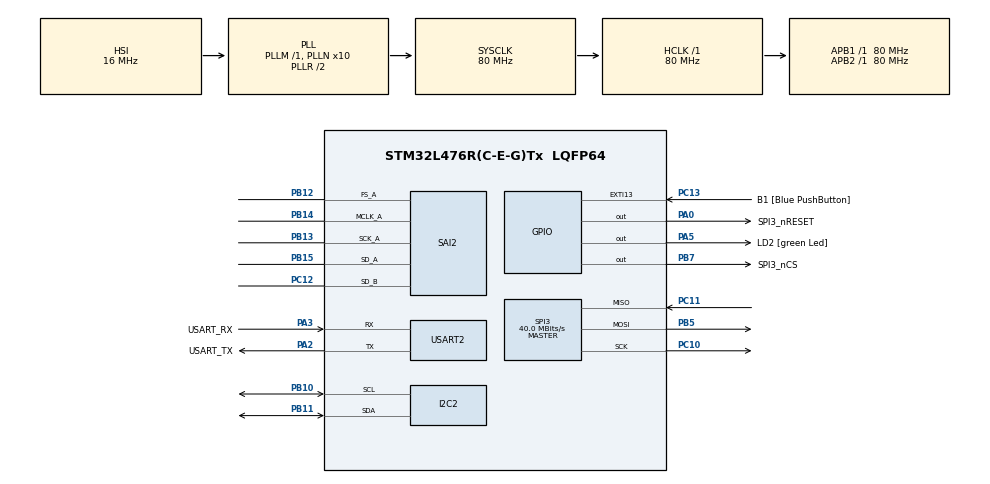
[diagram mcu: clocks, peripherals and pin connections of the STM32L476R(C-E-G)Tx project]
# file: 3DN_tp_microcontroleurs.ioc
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Dma.Request0=SAI2_A
Dma.Request1=SAI2_B
Dma.SAI2_A.0.Direction=DMA_MEMORY_TO_PERIPH
Dma.SAI2_A.0.Instance=DMA1_Channel6
Dma.SAI2_A.0.MemDataAlignment=DMA_MDATAALIGN_WORD
Dma.SAI2_A.0.MemInc=DMA_MINC_ENABLE
Dma.SAI2_A.0.Mode=DMA_CIRCULAR
Dma.SAI2_A.0.PeriphDataAlignment=DMA_PDATAALIGN_WORD
Dma.SAI2_A.0.PeriphInc=DMA_PINC_DISABLE
Dma.SAI2_A.0.Priority=DMA_PRIORITY_LOW
Dma.SAI2_B.1.Direction=DMA_PERIPH_TO_MEMORY
Dma.SAI2_B.1.Instance=DMA1_Channel7
Dma.SAI2_B.1.MemDataAlignment=DMA_MDATAALIGN_WORD
Dma.SAI2_B.1.MemInc=DMA_MINC_ENABLE
Dma.SAI2_B.1.Mode=DMA_CIRCULAR
Dma.SAI2_B.1.PeriphDataAlignment=DMA_PDATAALIGN_WORD
Dma.SAI2_B.1.PeriphInc=DMA_PINC_DISABLE
Dma.SAI2_B.1.Priority=DMA_PRIORITY_LOW
I2C2.Timing=0x10D19CE4
Mcu.Family=STM32L4
Mcu.Name=STM32L476R(C-E-G)Tx
Mcu.Package=LQFP64
NVIC.DMA1_Channel6_IRQn=true\:0\:0\:false\:false\:true\:false\:true\:true
NVIC.DMA1_Channel7_IRQn=true\:0\:0\:false\:false\:true\:false\:true\:true
NVIC.PriorityGroup=NVIC_PRIORITYGROUP_4
NVIC.SAI2_IRQn=true\:0\:0\:false\:false\:true\:true\:true\:true
PA0.GPIO_Label=SPI3_nRESET
PA0.PinState=GPIO_PIN_SET
PA0.Signal=GPIO_Output
PA13\ (JTMS-SWDIO).GPIO_Label=TMS
PA13\ (JTMS-SWDIO).Mode=Serial_Wire
PA13\ (JTMS-SWDIO).Signal=SYS_JTMS-SWDIO
PA14\ (JTCK-SWCLK).GPIO_Label=TCK
PA14\ (JTCK-SWCLK).Mode=Serial_Wire
PA14\ (JTCK-SWCLK).Signal=SYS_JTCK-SWCLK
PA2.GPIO_Label=USART_TX
PA2.GPIO_Mode=GPIO_MODE_AF_PP
PA2.GPIO_PuPd=GPIO_NOPULL
PA2.GPIO_Speed=GPIO_SPEED_FREQ_VERY_HIGH
PA2.Mode=Asynchronous
PA2.Signal=USART2_TX
PA3.GPIO_Label=USART_RX
PA3.GPIO_Mode=GPIO_MODE_AF_PP
PA3.GPIO_PuPd=GPIO_NOPULL
PA3.GPIO_Speed=GPIO_SPEED_FREQ_VERY_HIGH
PA3.Mode=Asynchronous
PA3.Signal=USART2_RX
PA5.GPIO_Label=LD2 [green Led]
PA5.GPIO_ModeDefaultOutputPP=GPIO_MODE_OUTPUT_PP
PA5.GPIO_PuPd=GPIO_NOPULL
PA5.GPIO_Speed=GPIO_SPEED_FREQ_LOW
PA5.Signal=GPIO_Output
PB10.Mode=I2C
PB10.Signal=I2C2_SCL
PB11.Mode=I2C
PB11.Signal=I2C2_SDA
PB12.Mode=SAI_A_MasterWithClock
PB12.Signal=SAI2_FS_A
PB13.Mode=SAI_A_MasterWithClock
PB13.Signal=SAI2_SCK_A
PB14.Mode=SAI_A_MasterWithClock
PB14.Signal=SAI2_MCLK_A
PB15.Mode=SAI_A_MasterWithClock
PB15.Signal=SAI2_SD_A
PB3\ (JTDO-TRACESWO).GPIO_Label=SWO
PB3\ (JTDO-TRACESWO).Signal=SYS_JTDO-SWO
PB5.Mode=Full_Duplex_Master
PB5.Signal=SPI3_MOSI
PB7.GPIO_Label=SPI3_nCS
PB7.Signal=GPIO_Output
PC10.Mode=Full_Duplex_Master
PC10.Signal=SPI3_SCK
PC11.Mode=Full_Duplex_Master
PC11.Signal=SPI3_MISO
PC12.Mode=SAI_B_SyncSlave
PC12.Signal=SAI2_SD_B
PC13.GPIO_Label=B1 [Blue PushButton]
PC13.GPIO_ModeDefaultEXTI=GPIO_MODE_IT_FALLING
PC13.GPIO_PuPd=GPIO_NOPULL
PC13.Signal=GPXTI13
PC14-OSC32_IN\ (PC14).Mode=LSE-External-Oscillator
PC14-OSC32_IN\ (PC14).Signal=RCC_OSC32_IN
PC15-OSC32_OUT\ (PC15).Mode=LSE-External-Oscillator
PC15-OSC32_OUT\ (PC15).Signal=RCC_OSC32_OUT
PH0-OSC_IN\ (PH0).Signal=RCC_OSC_IN
PH1-OSC_OUT\ (PH1).Signal=RCC_OSC_OUT
ProjectManager.HeapSize=0x200
ProjectManager.StackSize=0x400
ProjectManager.TargetToolchain=STM32CubeIDE
RCC.ADCFreq_Value=104000000
RCC.AHBFreq_Value=80000000
RCC.APB1Freq_Value=80000000
RCC.APB1TimFreq_Value=80000000
RCC.APB2Freq_Value=80000000
RCC.APB2TimFreq_Value=80000000
RCC.CortexFreq_Value=80000000
RCC.HCLKFreq_Value=80000000
RCC.HSE_VALUE=8000000
RCC.HSI_VALUE=16000000
RCC.MSI_VALUE=4000000
RCC.PLLN=10
RCC.PLLSAI1N=13
RCC.PLLSAI1P=RCC_PLLP_DIV17
RCC.PLLSourceVirtual=RCC_PLLSOURCE_HSI
RCC.PREFETCH_ENABLE=1
RCC.SYSCLKFreq_VALUE=80000000
RCC.SYSCLKSource=RCC_SYSCLKSOURCE_PLLCLK
RCC.USBFreq_Value=104000000
RCC.VCOOutputFreq_Value=160000000
SAI2.AudioFrequency-SAI_A_MasterWithClock=SAI_AUDIO_FREQUENCY_48K
SAI2.ErrorAudioFreq-SAI_A_MasterWithClock=-0.42 %
SAI2.InitProtocol-SAI_A_MasterWithClock=Enable
SAI2.InitProtocol-SAI_B_SyncSlave=Enable
SAI2.Instance-SAI_A_MasterWithClock=SAI$Index_Block_A
SAI2.Instance-SAI_B_SyncSlave=SAI$Index_Block_B
SAI2.MClockEnable-SAI_A_MasterWithClock=SAI_MASTERCLOCK_ENABLE
SAI2.RealAudioFreq-SAI_A_MasterWithClock=47.794 KHz
SAI2.VirtualMode-SAI_A_MasterWithClock=VM_MASTER
SAI2.VirtualMode-SAI_B_SyncSlave=VM_SLAVE
SAI2.VirtualProtocol-SAI_A_BASIC=VM_BASIC_PROTOCOL
SAI2.VirtualProtocol-SAI_B_BASIC=VM_BASIC_PROTOCOL
SPI3.CalculateBaudRate=40.0 MBits/s
SPI3.DataSize=SPI_DATASIZE_8BIT
SPI3.Direction=SPI_DIRECTION_2LINES
SPI3.Mode=SPI_MODE_MASTER
SPI3.VirtualType=VM_MASTER
USART2.VirtualMode-Asynchronous=VM_ASYNC
VP_SAI2_VP_$IpInstance_SAIA_SAI_BASIC.Mode=SAI_A_BASIC
VP_SAI2_VP_$IpInstance_SAIB_SAI_BASIC.Mode=SAI_B_BASIC
board=NUCLEO-L476RG

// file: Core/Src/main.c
/* USER CODE BEGIN Header */
/**
 ******************************************************************************
 * @file           : main.c
 * @brief          : Main program body
 ******************************************************************************
 * @attention
 *
 * Copyright (c) 2025 STMicroelectronics.
 * All rights reserved.
 *
 * This software is licensed under terms that can be found in the LICENSE file
 * in the root directory of this software component.
 * If no LICENSE file comes with this software, it is provided AS-IS.
 *
 ******************************************************************************
 */
/* USER CODE END Header */
#include "main.h"
#include "dma.h"
#include "i2c.h"
#include "sai.h"
#include "spi.h"
#include "usart.h"

#include "gpio.h"

/* USER CODE BEGIN Includes */
#include "stdio.h"
#include "mcp23s17.h"
#include "sgtl5000.h"
/* USER CODE END Includes */

/* USER CODE BEGIN PTD */
MCP23S17_HandleTypeDef mcp23s17;
/* USER CODE END PTD */

/* USER CODE BEGIN PD */
#define CODEC_I2C_ADDRESS  0x0A // Adresse I2C du CODEC
#define CHIP_ID_REG        0x0000 // Adresse du registre CHIP_ID
#define AUDIO_BUFFER_SIZE  256  // Taille du buffer audio
/* USER CODE END PD */

/* USER CODE BEGIN PV */
uint16_t rxBuffer[AUDIO_BUFFER_SIZE];
uint16_t txBuffer[AUDIO_BUFFER_SIZE];
/* USER CODE END PV */

void SystemClock_Config(void);
void PeriphCommonClock_Config(void);

/* USER CODE BEGIN 0 */
int __io_putchar(int chr)
{
	HAL_UART_Transmit(&huart2, (uint8_t *)&chr, 1, HAL_MAX_DELAY);
	return chr;
}

void Read_CODEC_ChipID(void) {
	uint8_t chip_id[2] = {0}; // Stockage du registre CHIP_ID (16 bits)

	// Lecture du registre CHIP_ID
	if (HAL_I2C_Mem_Read(&hi2c2, (CODEC_I2C_ADDRESS << 1), CHIP_ID_REG,
			I2C_MEMADD_SIZE_16BIT, chip_id, 2, HAL_MAX_DELAY) == HAL_OK) {
		uint16_t chip_id_value = (chip_id[0] << 8) | chip_id[1];
		printf("CHIP ID: 0x%04X\r\n", chip_id_value);
	} else {
		printf("Erreur lors de la lecture du CHIP ID\r\n");
	}
}

void Start_SAI_Audio(void) {
	HAL_StatusTypeDef status_tx = HAL_SAI_Transmit_DMA(&hsai_BlockA2, (uint8_t*)txBuffer, AUDIO_BUFFER_SIZE);

	if (status_tx != HAL_OK) {
		printf("Erreur SAI TX: %d\r\n", status_tx);
	} else {
		printf("SAI TX démarré avec succès\r\n");
	}

	if (HAL_SAI_Receive_DMA(&hsai_BlockB2, (uint8_t*)rxBuffer, AUDIO_BUFFER_SIZE) != HAL_OK) {
		printf("Erreur démarrage SAI RX\r\n");
	} else {
		printf("SAI RX démarré\r\n");
	}
}

void Fill_Triangle_Wave(uint16_t *buffer, int length) {
	int cycles = 10; // 10 cycles dans le buffer
	int samples_per_cycle = length / cycles;
	int half = samples_per_cycle / 2;

	for (int i = 0; i < length; i++) {
		int pos = i % samples_per_cycle;
		int16_t val = (pos < half)
			? (-0x3FFF + (2 * 0x3FFF * pos) / half)
			: (0x3FFF - (2 * 0x3FFF * (pos - half)) / half);
		buffer[i] = (uint16_t)(val + 0x8000); // Décalage pour DAC
	}
}
/* USER CODE END 0 */

int main(void)
{

	/* MCU Configuration--------------------------------------------------------*/

	/* Reset of all peripherals, Initializes the Flash interface and the Systick. */
	HAL_Init();

	/* Configure the system clock */
	SystemClock_Config();

	/* Configure the peripherals common clocks */
	PeriphCommonClock_Config();

	/* Initialize all configured peripherals */
	MX_GPIO_Init();
	MX_DMA_Init();
	MX_USART2_UART_Init();
	MX_SPI3_Init();
	MX_I2C2_Init();
	MX_SAI2_Init();
	/* USER CODE BEGIN 2 */
	__HAL_SAI_ENABLE(&hsai_BlockA2);
	HAL_Delay(10);
	SGTL5000_Init();
	mcp23s17.hspi = &hspi3;
	mcp23s17.CS_Port = SPI3_nCS_GPIO_Port;
	mcp23s17.CS_Pin = SPI3_nCS_Pin;
	MCP23S17_Init(&mcp23s17);

	Read_CODEC_ChipID();

	Fill_Triangle_Wave(txBuffer, AUDIO_BUFFER_SIZE);
	for (int i = 0; i < 10; i++) {
		printf("txBuffer[%d] = 0x%04X\r\n", i, txBuffer[i]);
	}
	printf("Dernier échantillon : txBuffer[%d] = 0x%04X\r\n", AUDIO_BUFFER_SIZE - 1, txBuffer[AUDIO_BUFFER_SIZE - 1]);
	Start_SAI_Audio();
	/* USER CODE END 2 */

	/* Infinite loop */
	/* USER CODE BEGIN WHILE */
	while (1)
	{
		HAL_GPIO_TogglePin(LD2_GPIO_Port, LD2_Pin);
		HAL_Delay(100);
		printf("Test printf bien\r\n");

		MCP23S17_Chenillard(&mcp23s17, 200);
		/* USER CODE END WHILE */

	}
}

void SystemClock_Config(void)
{
	RCC_OscInitTypeDef RCC_OscInitStruct = {0};
	RCC_ClkInitTypeDef RCC_ClkInitStruct = {0};

	/** Configure the main internal regulator output voltage
	 */
	if (HAL_PWREx_ControlVoltageScaling(PWR_REGULATOR_VOLTAGE_SCALE1) != HAL_OK)
	{
		Error_Handler();
	}

	/** Initializes the RCC Oscillators according to the specified parameters
	 * in the RCC_OscInitTypeDef structure.
	 */
	RCC_OscInitStruct.OscillatorType = RCC_OSCILLATORTYPE_HSI;
	RCC_OscInitStruct.HSIState = RCC_HSI_ON;
	RCC_OscInitStruct.HSICalibrationValue = RCC_HSICALIBRATION_DEFAULT;
	RCC_OscInitStruct.PLL.PLLState = RCC_PLL_ON;
	RCC_OscInitStruct.PLL.PLLSource = RCC_PLLSOURCE_HSI;
	RCC_OscInitStruct.PLL.PLLM = 1;
	RCC_OscInitStruct.PLL.PLLN = 10;
	RCC_OscInitStruct.PLL.PLLP = RCC_PLLP_DIV7;
	RCC_OscInitStruct.PLL.PLLQ = RCC_PLLQ_DIV2;
	RCC_OscInitStruct.PLL.PLLR = RCC_PLLR_DIV2;
	if (HAL_RCC_OscConfig(&RCC_OscInitStruct) != HAL_OK)
	{
		Error_Handler();
	}

	/** Initializes the CPU, AHB and APB buses clocks
	 */
	RCC_ClkInitStruct.ClockType = RCC_CLOCKTYPE_HCLK|RCC_CLOCKTYPE_SYSCLK
			|RCC_CLOCKTYPE_PCLK1|RCC_CLOCKTYPE_PCLK2;
	RCC_ClkInitStruct.SYSCLKSource = RCC_SYSCLKSOURCE_PLLCLK;
	RCC_ClkInitStruct.AHBCLKDivider = RCC_SYSCLK_DIV1;
	RCC_ClkInitStruct.APB1CLKDivider = RCC_HCLK_DIV1;
	RCC_ClkInitStruct.APB2CLKDivider = RCC_HCLK_DIV1;

	if (HAL_RCC_ClockConfig(&RCC_ClkInitStruct, FLASH_LATENCY_4) != HAL_OK)
	{
		Error_Handler();
	}
}

void PeriphCommonClock_Config(void)
{
	RCC_PeriphCLKInitTypeDef PeriphClkInit = {0};

	/** Initializes the peripherals clock
	 */
	PeriphClkInit.PeriphClockSelection = RCC_PERIPHCLK_SAI2;
	PeriphClkInit.Sai2ClockSelection = RCC_SAI2CLKSOURCE_PLLSAI1;
	PeriphClkInit.PLLSAI1.PLLSAI1Source = RCC_PLLSOURCE_HSI;
	PeriphClkInit.PLLSAI1.PLLSAI1M = 1;
	PeriphClkInit.PLLSAI1.PLLSAI1N = 13;
	PeriphClkInit.PLLSAI1.PLLSAI1P = RCC_PLLP_DIV17;
	PeriphClkInit.PLLSAI1.PLLSAI1Q = RCC_PLLQ_DIV2;
	PeriphClkInit.PLLSAI1.PLLSAI1R = RCC_PLLR_DIV2;
	PeriphClkInit.PLLSAI1.PLLSAI1ClockOut = RCC_PLLSAI1_SAI1CLK;
	if (HAL_RCCEx_PeriphCLKConfig(&PeriphClkInit) != HAL_OK)
	{
		Error_Handler();
	}
}

void Error_Handler(void)
{
	__disable_irq();
	while (1)
	{
	}
}
